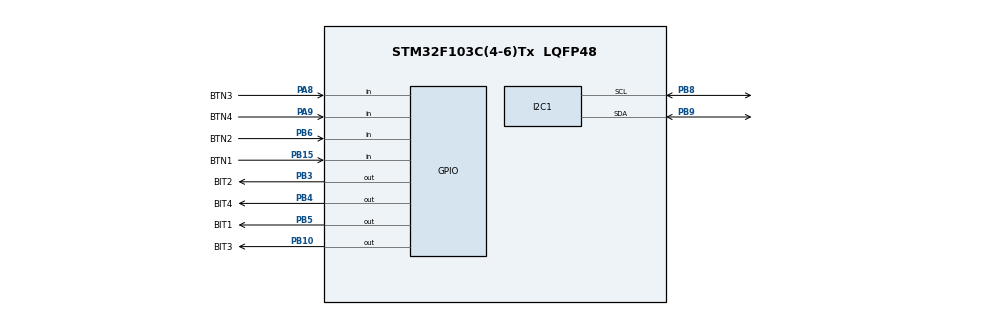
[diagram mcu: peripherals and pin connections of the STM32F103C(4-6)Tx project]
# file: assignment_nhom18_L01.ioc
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Mcu.Family=STM32F1
Mcu.Name=STM32F103C(4-6)Tx
Mcu.Package=LQFP48
NVIC.PriorityGroup=NVIC_PRIORITYGROUP_4
NVIC.TIM2_IRQn=true\:0\:0\:false\:false\:true\:true\:true
PA13.Mode=Serial_Wire
PA13.Signal=SYS_JTMS-SWDIO
PA14.Mode=Serial_Wire
PA14.Signal=SYS_JTCK-SWCLK
PA8.GPIO_Label=BTN3
PA8.GPIO_PuPd=GPIO_PULLUP
PA8.Signal=GPIO_Input
PA9.GPIO_Label=BTN4
PA9.GPIO_PuPd=GPIO_PULLUP
PA9.Signal=GPIO_Input
PB10.GPIO_Label=BIT3
PB10.Signal=GPIO_Output
PB15.GPIO_Label=BTN1
PB15.GPIO_PuPd=GPIO_PULLUP
PB15.Signal=GPIO_Input
PB3.GPIO_Label=BIT2
PB3.Signal=GPIO_Output
PB4.GPIO_Label=BIT4
PB4.Signal=GPIO_Output
PB5.GPIO_Label=BIT1
PB5.Signal=GPIO_Output
PB6.GPIO_Label=BTN2
PB6.GPIO_PuPd=GPIO_PULLUP
PB6.Signal=GPIO_Input
PB8.Mode=I2C
PB8.Signal=I2C1_SCL
PB9.Mode=I2C
PB9.Signal=I2C1_SDA
ProjectManager.HeapSize=0x200
ProjectManager.StackSize=0x400
ProjectManager.TargetToolchain=STM32CubeIDE
RCC.APB1Freq_Value=8000000
RCC.APB2Freq_Value=8000000
TIM2.Period=9
TIM2.Prescaler=7999
VP_TIM2_VS_ClockSourceINT.Mode=Internal
board=custom

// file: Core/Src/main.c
/* USER CODE BEGIN Header */
/**
  ******************************************************************************
  * @file           : main.c
  * @brief          : Main program body
  ******************************************************************************
  * @attention
  *
  * <h2><center>&copy; Copyright (c) 2023 STMicroelectronics.
  * All rights reserved.</center></h2>
  *
  * This software component is licensed by ST under BSD 3-Clause license,
  * the "License"; You may not use this file except in compliance with the
  * License. You may obtain a copy of the License at:
  *                        opensource.org/licenses/BSD-3-Clause
  *
  ******************************************************************************
  */
/* USER CODE END Header */
#include "main.h"

/* USER CODE BEGIN Includes */
#include "button.h"
#include "fsm_traffic_light.h"
#include "global.h"
#include "software_timer.h"
#include "i2c-lcd.h"
/* USER CODE END Includes */

I2C_HandleTypeDef hi2c1;

TIM_HandleTypeDef htim2;

void SystemClock_Config(void);
static void MX_GPIO_Init(void);
static void MX_TIM2_Init(void);
static void MX_I2C1_Init(void);

int main(void)
{

  /* MCU Configuration--------------------------------------------------------*/

  /* Reset of all peripherals, Initializes the Flash interface and the Systick. */
  HAL_Init();

  /* Configure the system clock */
  SystemClock_Config();

  /* Initialize all configured peripherals */
  MX_GPIO_Init();
  MX_TIM2_Init();
  MX_I2C1_Init();
  /* USER CODE BEGIN 2 */
  HAL_TIM_Base_Start_IT (& htim2);
  lcd_init();
    lcd_clear_display();
    lcd_goto_XY(0, 0);
    lcd_send_string(" Xin chao VXL");
    lcd_goto_XY(1, 0);
    lcd_send_string(" Vi xu ly");
  //	  SCH_INIT();
  //	        SCH_Add_Task(timerRun,5,1);
  //	        SCH_Add_Task(getKeyInput,10,1);
  //	        setTime();
  //        SCH_Add_Task(toggleRed,4,100);
  //        SCH_Add_Task(toggleYellow,3,100);
  //        SCH_Add_Task(toggleGreen,1,100);
  //        SCH_Add_Task(toggleButton1, 50, 0);
  //        SCH_Add_Task(toggleButton1, 51, 0);
  //        SCH_Add_Task(toggleButton1, 52, 0);
  //      SCH_Add_Task(toggleButton3, 500, 500);
  /* USER CODE END 2 */

  /* Infinite loop */
  while (1)
  {

    /* USER CODE BEGIN 3 */
	  //	  SCH_Dispatcher();
	  	  fsm_traffic_light();
	  	  updateLCD();
	  //	  fsm_perdes();
  }
  /* USER CODE END 3 */
}

void SystemClock_Config(void)
{
  RCC_OscInitTypeDef RCC_OscInitStruct = {0};
  RCC_ClkInitTypeDef RCC_ClkInitStruct = {0};

  /** Initializes the RCC Oscillators according to the specified parameters
  * in the RCC_OscInitTypeDef structure.
  */
  RCC_OscInitStruct.OscillatorType = RCC_OSCILLATORTYPE_HSI;
  RCC_OscInitStruct.HSIState = RCC_HSI_ON;
  RCC_OscInitStruct.HSICalibrationValue = RCC_HSICALIBRATION_DEFAULT;
  RCC_OscInitStruct.PLL.PLLState = RCC_PLL_NONE;
  if (HAL_RCC_OscConfig(&RCC_OscInitStruct) != HAL_OK)
  {
    Error_Handler();
  }
  /** Initializes the CPU, AHB and APB buses clocks
  */
  RCC_ClkInitStruct.ClockType = RCC_CLOCKTYPE_HCLK|RCC_CLOCKTYPE_SYSCLK
                              |RCC_CLOCKTYPE_PCLK1|RCC_CLOCKTYPE_PCLK2;
  RCC_ClkInitStruct.SYSCLKSource = RCC_SYSCLKSOURCE_HSI;
  RCC_ClkInitStruct.AHBCLKDivider = RCC_SYSCLK_DIV1;
  RCC_ClkInitStruct.APB1CLKDivider = RCC_HCLK_DIV1;
  RCC_ClkInitStruct.APB2CLKDivider = RCC_HCLK_DIV1;

  if (HAL_RCC_ClockConfig(&RCC_ClkInitStruct, FLASH_LATENCY_0) != HAL_OK)
  {
    Error_Handler();
  }
}

static void MX_I2C1_Init(void)
{

  hi2c1.Instance = I2C1;
  hi2c1.Init.ClockSpeed = 100000;
  hi2c1.Init.DutyCycle = I2C_DUTYCYCLE_2;
  hi2c1.Init.OwnAddress1 = 0;
  hi2c1.Init.AddressingMode = I2C_ADDRESSINGMODE_7BIT;
  hi2c1.Init.DualAddressMode = I2C_DUALADDRESS_DISABLE;
  hi2c1.Init.OwnAddress2 = 0;
  hi2c1.Init.GeneralCallMode = I2C_GENERALCALL_DISABLE;
  hi2c1.Init.NoStretchMode = I2C_NOSTRETCH_DISABLE;
  if (HAL_I2C_Init(&hi2c1) != HAL_OK)
  {
    Error_Handler();
  }

}

static void MX_TIM2_Init(void)
{

  TIM_ClockConfigTypeDef sClockSourceConfig = {0};
  TIM_MasterConfigTypeDef sMasterConfig = {0};

  htim2.Instance = TIM2;
  htim2.Init.Prescaler = 7999;
  htim2.Init.CounterMode = TIM_COUNTERMODE_UP;
  htim2.Init.Period = 9;
  htim2.Init.ClockDivision = TIM_CLOCKDIVISION_DIV1;
  htim2.Init.AutoReloadPreload = TIM_AUTORELOAD_PRELOAD_DISABLE;
  if (HAL_TIM_Base_Init(&htim2) != HAL_OK)
  {
    Error_Handler();
  }
  sClockSourceConfig.ClockSource = TIM_CLOCKSOURCE_INTERNAL;
  if (HAL_TIM_ConfigClockSource(&htim2, &sClockSourceConfig) != HAL_OK)
  {
    Error_Handler();
  }
  sMasterConfig.MasterOutputTrigger = TIM_TRGO_RESET;
  sMasterConfig.MasterSlaveMode = TIM_MASTERSLAVEMODE_DISABLE;
  if (HAL_TIMEx_MasterConfigSynchronization(&htim2, &sMasterConfig) != HAL_OK)
  {
    Error_Handler();
  }
  /* USER CODE BEGIN TIM2_Init 2 */
  TIME_CYCLE = 1/(8e6/(htim2.Init.Prescaler + 1)/(htim2.Init.Period + 1)) * 1000;
  /* USER CODE END TIM2_Init 2 */

}

static void MX_GPIO_Init(void)
{
  GPIO_InitTypeDef GPIO_InitStruct = {0};

  /* GPIO Ports Clock Enable */
  __HAL_RCC_GPIOB_CLK_ENABLE();
  __HAL_RCC_GPIOA_CLK_ENABLE();

  /*Configure GPIO pin Output Level */
  HAL_GPIO_WritePin(GPIOB, BIT3_Pin|BIT2_Pin|BIT4_Pin|BIT1_Pin, GPIO_PIN_RESET);

  /*Configure GPIO pins : BIT3_Pin BIT2_Pin BIT4_Pin BIT1_Pin */
  GPIO_InitStruct.Pin = BIT3_Pin|BIT2_Pin|BIT4_Pin|BIT1_Pin;
  GPIO_InitStruct.Mode = GPIO_MODE_OUTPUT_PP;
  GPIO_InitStruct.Pull = GPIO_NOPULL;
  GPIO_InitStruct.Speed = GPIO_SPEED_FREQ_LOW;
  HAL_GPIO_Init(GPIOB, &GPIO_InitStruct);

  /*Configure GPIO pins : BTN1_Pin BTN2_Pin */
  GPIO_InitStruct.Pin = BTN1_Pin|BTN2_Pin;
  GPIO_InitStruct.Mode = GPIO_MODE_INPUT;
  GPIO_InitStruct.Pull = GPIO_PULLUP;
  HAL_GPIO_Init(GPIOB, &GPIO_InitStruct);

  /*Configure GPIO pins : BTN3_Pin BTN4_Pin */
  GPIO_InitStruct.Pin = BTN3_Pin|BTN4_Pin;
  GPIO_InitStruct.Mode = GPIO_MODE_INPUT;
  GPIO_InitStruct.Pull = GPIO_PULLUP;
  HAL_GPIO_Init(GPIOA, &GPIO_InitStruct);

}

/* USER CODE BEGIN 4 */
void HAL_TIM_PeriodElapsedCallback (TIM_HandleTypeDef * htim){
	timerRun();
	getKeyInput();
//	SCH_Update();
}
/* USER CODE END 4 */

void Error_Handler(void)
{
  __disable_irq();
  while (1)
  {
  }
}

/************************ (C) COPYRIGHT STMicroelectronics *****END OF FILE****/
